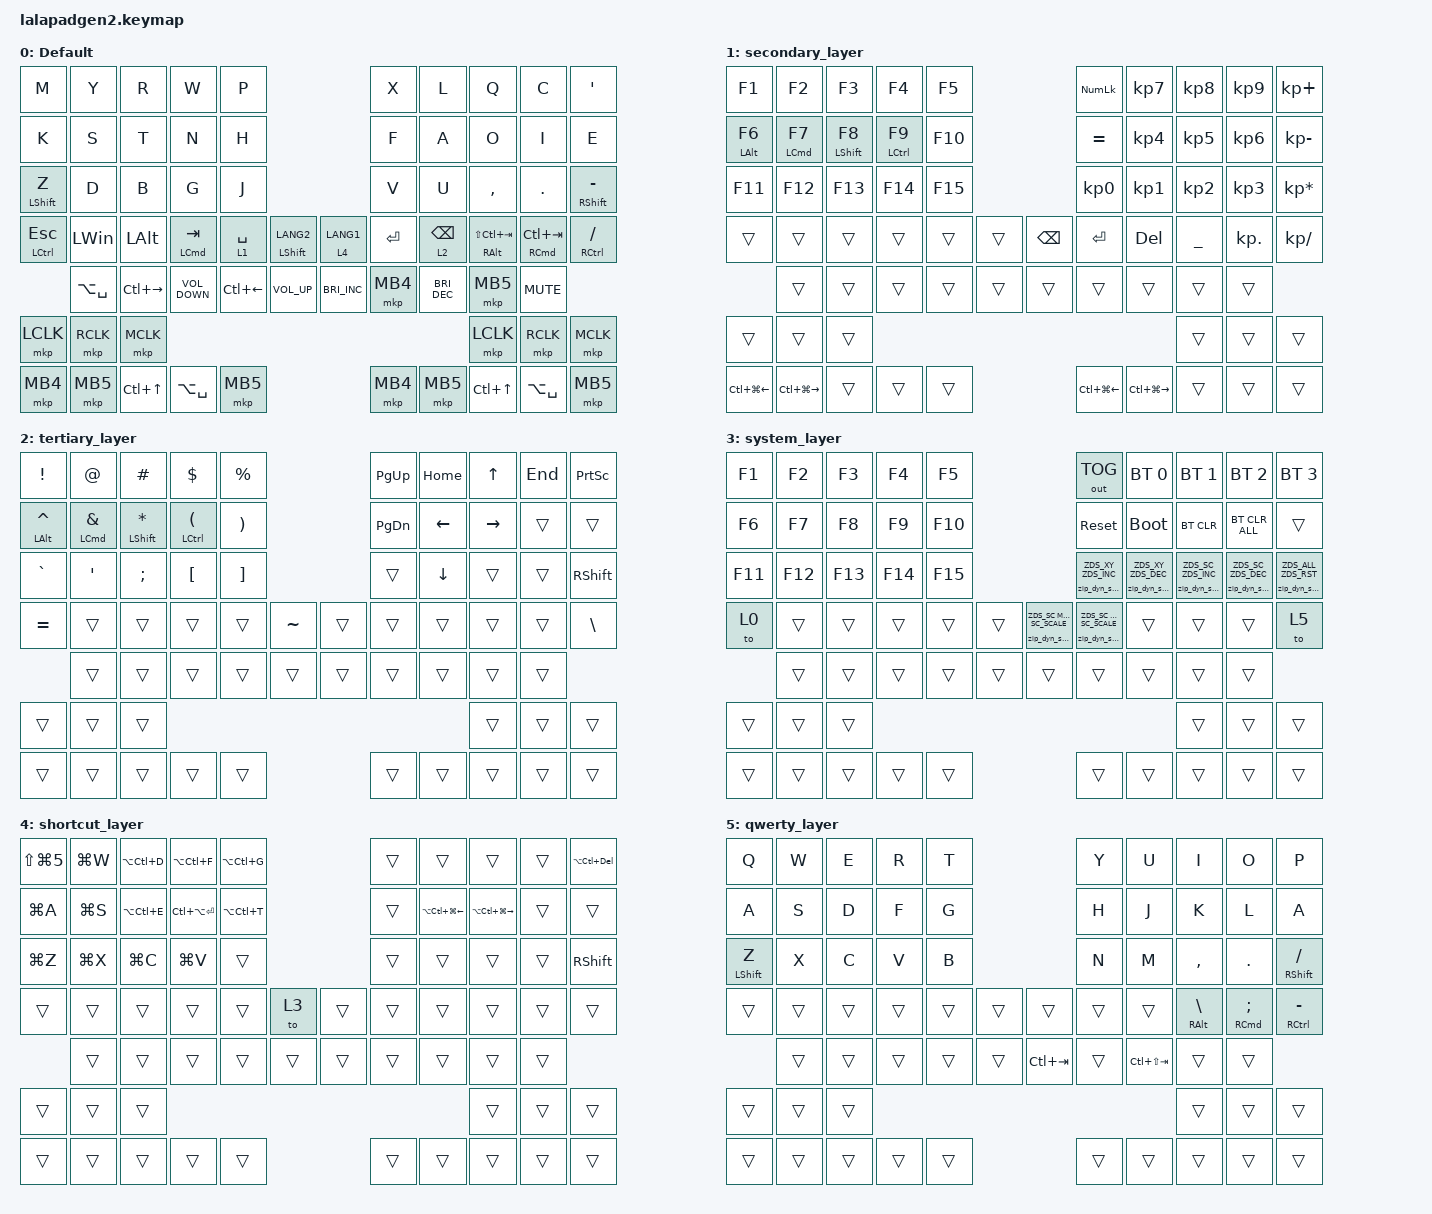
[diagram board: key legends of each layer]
#include <input/processors.dtsi>
#include <dt-bindings/zmk/zip_dynamic_scale.h>
#include <behaviors.dtsi>
#include <dt-bindings/zmk/bt.h>
#include <dt-bindings/zmk/keys.h>
#include <dt-bindings/zmk/outputs.h>
#include <dt-bindings/zmk/pointing.h>

#define DEFAULT_LAYER   0
#define SECONDARY_LAYER 1
#define TERTIARY_LAYER  2
#define SYSTEM_LAYER    3
#define MAC_SC_SCALE    2
#define WIN_SC_SCALE    30

&mt { quick-tap-ms = <200>; };

&lt { quick-tap-ms = <200>; };

/ {
    behaviors {
        zip_dyn_scale: zip_dyn_scale {
            compatible = "zmk,behavior-zip-dynamic-scale";
            #binding-cells = <2>;
        };

        zip_dyn_scale_set: zip_dyn_scale_set {
            compatible = "zmk,behavior-zip-dynamic-scale-set";
            #binding-cells = <2>;
        };

        mt2: mod_tap2 {
            compatible = "zmk,behavior-hold-tap";
            #binding-cells = <2>;
            flavor = "tap-preferred";
            tapping-term-ms = <200>;
            quick-tap-ms = <200>;
            require-prior-idle-ms = <125>;
            bindings = <&kp>, <&kp>;
        };

        tap_dance_layer_1and2: tap_dance_layer_1and2 {
            compatible = "zmk,behavior-tap-dance";
            label = "td_mo12";
            #binding-cells = <0>;
            bindings = <&mo 1>, <&mo 2>;
        };
    };

    combos {
        compatible = "zmk,combos";

        CONBO_ESC {
            bindings = <&kp ESCAPE>;
            key-positions = <1 2>;
        };
    };

    keymap {
        compatible = "zmk,keymap";

        DEFAULT_LAYER {
            display-name = "Default";
            bindings = <
&kp M              &kp Y          &kp R             &kp W                  &kp P                                                      &kp X      &kp L                 &kp Q                       &kp C                       &kp SINGLE_QUOTE
&kp K              &kp S          &kp T             &kp N                  &kp H                                                      &kp F      &kp A                 &kp O                       &kp I                       &kp E
&mt2 LEFT_SHIFT Z  &kp D          &kp B             &kp G                  &kp J                                                      &kp V      &kp U                 &kp COMMA                   &kp PERIOD                  &mt2 RIGHT_SHIFT MINUS
&mt2 LCTRL ESCAPE  &kp LWIN       &kp LEFT_ALT      &mt2 LEFT_COMMAND TAB  &lt 1 SPACE   &mt2 LEFT_SHIFT LANG2  &lt 4 LANG1           &kp ENTER  &lt 2 BACKSPACE       &mt2 RIGHT_ALT LS(LC(TAB))  &mt2 RIGHT_COMMAND LC(TAB)  &mt2 RIGHT_CONTROL SLASH
                   &kp LA(SPACE)  &kp LC(RIGHT)     &kp C_VOLUME_DOWN      &kp LC(LEFT)  &kp C_VOLUME_UP        &kp C_BRIGHTNESS_INC  &mkp MB4   &kp C_BRIGHTNESS_DEC  &mkp MB5                    &kp K_MUTE
&mkp LCLK          &mkp RCLK      &mkp MCLK                                                                                                                            &mkp LCLK                   &mkp RCLK                   &mkp MCLK
&mkp MB4           &mkp MB5       &kp LC(UP_ARROW)  &kp LA(SPACE)          &mkp MB5                                                   &mkp MB4   &mkp MB5              &kp LC(UP_ARROW)            &kp LA(SPACE)               &mkp MB5
            >;
        };

        SECONDARY_LAYER {
            display-name = "secondary_layer";
            bindings = <
&kp F1            &kp F2                &kp F3              &kp F4                &kp F5                          &kp KP_NUMLOCK    &kp KP_NUMBER_7    &kp KP_NUMBER_8  &kp KP_NUMBER_9  &kp KP_PLUS
&mt2 LEFT_ALT F6  &mt2 LEFT_COMMAND F7  &mt2 LEFT_SHIFT F8  &mt2 LEFT_CONTROL F9  &kp F10                         &kp EQUAL         &kp KP_NUMBER_4    &kp KP_NUMBER_5  &kp KP_NUMBER_6  &kp KP_MINUS
&kp F11           &kp F12               &kp F13             &kp F14               &kp F15                         &kp KP_NUMBER_0   &kp KP_NUMBER_1    &kp KP_NUMBER_2  &kp KP_NUMBER_3  &kp KP_ASTERISK
&trans            &trans                &trans              &trans                &trans   &trans  &kp BACKSPACE  &kp ENTER         &kp DELETE         &kp UNDERSCORE   &kp KP_DOT       &kp KP_DIVIDE
                  &trans                &trans              &trans                &trans   &trans  &trans         &trans            &trans             &trans           &trans
&trans            &trans                &trans                                                                                                         &trans           &trans           &trans
&kp LC(LG(LEFT))  &kp LC(LG(RIGHT))     &trans              &trans                &trans                          &kp LC(LG(LEFT))  &kp LC(LG(RIGHT))  &trans           &trans           &trans
            >;
        };

        TERTIARY_LAYER {
            display-name = "tertiary_layer";
            bindings = <
&kp EXCLAMATION      &kp AT_SIGN                  &kp HASH                  &kp DOLLAR                          &kp PERCENT                               &kp PAGE_UP    &kp HOME        &kp UP_ARROW     &kp END  &kp PRINTSCREEN
&mt2 LEFT_ALT CARET  &mt2 LEFT_COMMAND AMPERSAND  &mt2 LEFT_SHIFT ASTERISK  &mt2 LEFT_CONTROL LEFT_PARENTHESIS  &kp RIGHT_PARENTHESIS                     &kp PAGE_DOWN  &kp LEFT        &kp RIGHT_ARROW  &trans   &trans
&kp GRAVE            &kp SQT                      &kp SEMI                  &kp LEFT_BRACKET                    &kp RIGHT_BRACKET                         &trans         &kp DOWN_ARROW  &trans           &trans   &kp RIGHT_SHIFT
&kp EQUAL            &trans                       &trans                    &trans                              &trans                 &kp TILDE  &trans  &trans         &trans          &trans           &trans   &kp BACKSLASH
                     &trans                       &trans                    &trans                              &trans                 &trans     &trans  &trans         &trans          &trans           &trans
&trans               &trans                       &trans                                                                                                                                 &trans           &trans   &trans
&trans               &trans                       &trans                    &trans                              &trans                                    &trans         &trans          &trans           &trans   &trans
            >;
        };

        SYSTEM_LAYER {
            display-name = "system_layer";
            bindings = <
&kp F1   &kp F2   &kp F3   &kp F4   &kp F5                                                   &out OUT_TOG                            &bt BT_SEL 0                   &bt BT_SEL 1                   &bt BT_SEL 2                   &bt BT_SEL 3
&kp F6   &kp F7   &kp F8   &kp F9   &kp F10                                                  &sys_reset                              &bootloader                    &bt BT_CLR                     &bt BT_CLR_ALL                 &trans
&kp F11  &kp F12  &kp F13  &kp F14  &kp F15                                                  &zip_dyn_scale ZDS_XY ZDS_INC           &zip_dyn_scale ZDS_XY ZDS_DEC  &zip_dyn_scale ZDS_SC ZDS_INC  &zip_dyn_scale ZDS_SC ZDS_DEC  &zip_dyn_scale ZDS_ALL ZDS_RST
&to 0    &trans   &trans   &trans   &trans   &trans  &zip_dyn_scale_set ZDS_SC MAC_SC_SCALE  &zip_dyn_scale_set ZDS_SC WIN_SC_SCALE  &trans                         &trans                         &trans                         &to 5
         &trans   &trans   &trans   &trans   &trans  &trans                                  &trans                                  &trans                         &trans                         &trans
&trans   &trans   &trans                                                                                                                                            &trans                         &trans                         &trans
&trans   &trans   &trans   &trans   &trans                                                   &trans                                  &trans                         &trans                         &trans                         &trans
            >;
        };

        SHORTCUT_LAYER {
            bindings = <
&kp LS(LG(NUMBER_5))  &kp LG(W)  &kp LA(LC(D))  &kp LA(LC(F))      &kp LA(LC(G))                  &trans  &trans                      &trans                       &trans  &kp LA(LC(DELETE))
&kp LG(A)             &kp LG(S)  &kp LA(LC(E))  &kp LC(LA(ENTER))  &kp LA(LC(T))                  &trans  &kp LA(LC(LG(LEFT_ARROW)))  &kp LA(LC(LG(RIGHT_ARROW)))  &trans  &trans
&kp LG(Z)             &kp LG(X)  &kp LG(C)      &kp LG(V)          &trans                         &trans  &trans                      &trans                       &trans  &kp RIGHT_SHIFT
&trans                &trans     &trans         &trans             &trans         &to 3   &trans  &trans  &trans                      &trans                       &trans  &trans
                      &trans     &trans         &trans             &trans         &trans  &trans  &trans  &trans                      &trans                       &trans
&trans                &trans     &trans                                                                                               &trans                       &trans  &trans
&trans                &trans     &trans         &trans             &trans                         &trans  &trans                      &trans                       &trans  &trans
            >;

            label = "shortcut_layer";
        };

        QWERTY_layer {
            bindings = <
&kp Q              &kp W   &kp E   &kp R   &kp T                        &kp Y   &kp U            &kp I                     &kp O                    &kp P
&kp A              &kp S   &kp D   &kp F   &kp G                        &kp H   &kp J            &kp K                     &kp L                    &kp A
&mt2 LEFT_SHIFT Z  &kp X   &kp C   &kp V   &kp B                        &kp N   &kp M            &kp COMMA                 &kp PERIOD               &mt2 RIGHT_SHIFT SLASH
&trans             &trans  &trans  &trans  &trans  &trans  &trans       &trans  &trans           &mt2 RIGHT_ALT BACKSLASH  &mt2 RIGHT_COMMAND SEMI  &mt2 RIGHT_CONTROL MINUS
                   &trans  &trans  &trans  &trans  &trans  &kp LC(TAB)  &trans  &kp LC(LS(TAB))  &trans                    &trans
&trans             &trans  &trans                                                                &trans                    &trans                   &trans
&trans             &trans  &trans  &trans  &trans                       &trans  &trans           &trans                    &trans                   &trans
            >;

            label = "qwerty_layer";
        };
    };

    conditional_layers {
        compatible = "zmk,conditional-layers";

        Cond_Syslayer {
            if-layers = <1 2>;
            then-layer = <3>;
        };
    };
};
